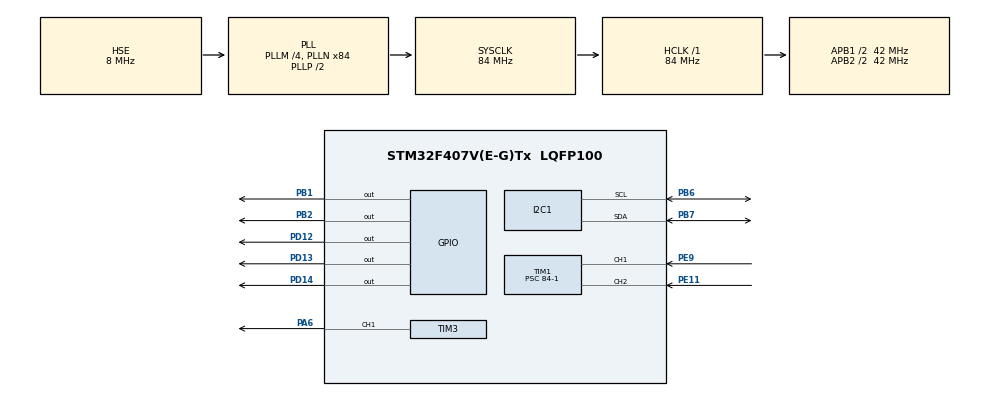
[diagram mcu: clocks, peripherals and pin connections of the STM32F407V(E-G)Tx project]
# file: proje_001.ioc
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I2C1.I2C_Mode=I2C_Fast
Mcu.Family=STM32F4
Mcu.Name=STM32F407V(E-G)Tx
Mcu.Package=LQFP100
NVIC.PriorityGroup=NVIC_PRIORITYGROUP_4
NVIC.TIM1_CC_IRQn=true\:0\:0\:false\:false\:true\:true\:true\:true
PA13.Mode=Serial_Wire
PA13.Signal=SYS_JTMS-SWDIO
PA14.Mode=Serial_Wire
PA14.Signal=SYS_JTCK-SWCLK
PA6.Signal=S_TIM3_CH1
PB1.Signal=GPIO_Output
PB2.Signal=GPIO_Output
PB6.Mode=I2C
PB6.Signal=I2C1_SCL
PB7.Mode=I2C
PB7.Signal=I2C1_SDA
PD12.Signal=GPIO_Output
PD13.Signal=GPIO_Output
PD14.Signal=GPIO_Output
PE11.Signal=S_TIM1_CH2
PE9.Signal=S_TIM1_CH1
PH0-OSC_IN.Mode=HSE-External-Oscillator
PH0-OSC_IN.Signal=RCC_OSC_IN
PH1-OSC_OUT.Mode=HSE-External-Oscillator
PH1-OSC_OUT.Signal=RCC_OSC_OUT
ProjectManager.HeapSize=0x200
ProjectManager.StackSize=0x400
ProjectManager.TargetToolchain=STM32CubeIDE
RCC.48MHZClocksFreq_Value=42000000
RCC.AHBFreq_Value=84000000
RCC.APB1CLKDivider=RCC_HCLK_DIV2
RCC.APB1Freq_Value=42000000
RCC.APB1TimFreq_Value=84000000
RCC.APB2CLKDivider=RCC_HCLK_DIV2
RCC.APB2Freq_Value=42000000
RCC.APB2TimFreq_Value=84000000
RCC.CortexFreq_Value=84000000
RCC.HCLKFreq_Value=84000000
RCC.HSE_VALUE=8000000
RCC.HSI_VALUE=16000000
RCC.LSE_VALUE=32768
RCC.PLLM=4
RCC.PLLN=84
RCC.PLLSourceVirtual=RCC_PLLSOURCE_HSE
RCC.SYSCLKFreq_VALUE=84000000
RCC.SYSCLKSource=RCC_SYSCLKSOURCE_PLLCLK
RCC.VCOOutputFreq_Value=168000000
SH.S_TIM1_CH1.0=TIM1_CH1,Input_Capture1_from_TI1
SH.S_TIM1_CH2.0=TIM1_CH2,Input_Capture2_from_TI2
SH.S_TIM3_CH1.0=TIM3_CH1,PWM Generation1 CH1
TIM1.Channel-Input_Capture1_from_TI1=TIM_CHANNEL_1
TIM1.Channel-Input_Capture2_from_TI2=TIM_CHANNEL_2
TIM1.Period=0xffff-1
TIM1.Prescaler=84-1
TIM3.Channel-PWM\ Generation1\ CH1=TIM_CHANNEL_1
TIM3.Period=20000-1
TIM3.Prescaler=83
board=custom

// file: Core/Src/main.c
/* USER CODE BEGIN Header */
/**
  ******************************************************************************
  * @file           : main.c
  * @brief          : Main program body
  ******************************************************************************
  * @attention
  *
  * Copyright (c) 2025 STMicroelectronics.
  * All rights reserved.
  *
  * This software is licensed under terms that can be found in the LICENSE file
  * in the root directory of this software component.
  * If no LICENSE file comes with this software, it is provided AS-IS.
  *
  ******************************************************************************
  */
/* USER CODE END Header */
#include "main.h"

/* USER CODE BEGIN Includes */
#include "sr04.h"
#include <stdio.h>
#include "fonts.h"
#include "ssd1306.h"
#include "servomotor.h"
#include "stdlib.h"
#define DIST_THRESHOLD 200   // mm
uint8_t servo_state = 0;
// 0 = Başlangıç (0°)
// 1 = 90°'de
#define BUZZER_PORT GPIOD
#define BUZZER_PIN  GPIO_PIN_14

/* USER CODE END Includes */

I2C_HandleTypeDef hi2c1;

TIM_HandleTypeDef htim1;
TIM_HandleTypeDef htim3;

/* USER CODE BEGIN PV */
/* USER CODE BEGIN PV */
sr04_t sr04_1;
sr04_t sr04_2;
servo_t servo1;

uint8_t car_seen_inside = 0;
uint8_t door_open_flag = 0;
uint8_t car_seen_outside = 0;

/* USER CODE END PV */

void SystemClock_Config(void);
static void MX_GPIO_Init(void);
static void MX_TIM1_Init(void);
static void MX_I2C1_Init(void);
static void MX_TIM3_Init(void);

void door_open(void)
{
    if (door_open_flag == 0)
    {
        servo_set_position(&servo1, 90);
        HAL_GPIO_WritePin(GPIOD, GPIO_PIN_12, GPIO_PIN_SET); // LED
        HAL_GPIO_WritePin(GPIOD, GPIO_PIN_13, GPIO_PIN_RESET);
        HAL_GPIO_WritePin(GPIOD, GPIO_PIN_14, GPIO_PIN_SET); // Buzzer
        door_open_flag = 1;
    }
}

void door_close(void)
{
    if (door_open_flag == 1)
    {
        servo_set_position(&servo1, 0);
        HAL_GPIO_WritePin(GPIOD, GPIO_PIN_12, GPIO_PIN_RESET);
        HAL_GPIO_WritePin(GPIOD, GPIO_PIN_13, GPIO_PIN_SET);
        HAL_GPIO_WritePin(GPIOD, GPIO_PIN_14, GPIO_PIN_RESET);
        door_open_flag = 0;
    }
}

int main(void)
{

  /* MCU Configuration--------------------------------------------------------*/

  /* Reset of all peripherals, Initializes the Flash interface and the Systick. */
  HAL_Init();

  /* Configure the system clock */
  SystemClock_Config();

  /* Initialize all configured peripherals */
  MX_GPIO_Init();
  MX_TIM1_Init();
  MX_I2C1_Init();
  MX_TIM3_Init();
  servo_init(&servo1,&htim3,TIM_CHANNEL_1);
  /* USER CODE BEGIN 2 */
  /* USER CODE BEGIN 2 */

  // -------- SENSOR 1 --------
  // -------- SENSOR 1 --------
  SSD1306_Init();
  char string[25];
  SSD1306_GotoXY (0,0);
  SSD1306_Puts ("Arac Park ", &Font_11x18, SSD1306_COLOR_WHITE);
  SSD1306_GotoXY (0, 30);
  SSD1306_Puts ("Sistemi", &Font_11x18, SSD1306_COLOR_WHITE);
  SSD1306_UpdateScreen();
  HAL_Delay (1000);

  SSD1306_GotoXY (30,0);

  sr04_1.trig_port    = GPIOB;
  sr04_1.trig_pin     = GPIO_PIN_1;
  sr04_1.echo_htim    = &htim1;
  sr04_1.echo_channel = TIM_CHANNEL_1;
  sr04_init(&sr04_1);

  // -------- SENSOR 2 --------
  sr04_2.trig_port    = GPIOB;
  sr04_2.trig_pin     = GPIO_PIN_2;
  sr04_2.echo_htim    = &htim1;
  sr04_2.echo_channel = TIM_CHANNEL_2;
  sr04_init(&sr04_2);
  servo1.htim      = &htim3;
  servo1.channel   = TIM_CHANNEL_1;
  servo1.min = 1000;   // 1 ms
  servo1.max = 2000;   // 2 ms

  // Input Capture + Base timer interrupt
  HAL_TIM_IC_Start_IT(&htim1, TIM_CHANNEL_1);
  HAL_TIM_IC_Start_IT(&htim1, TIM_CHANNEL_2);
  HAL_TIM_Base_Start_IT(&htim1);

  HAL_TIM_PWM_Start(&htim3, TIM_CHANNEL_1);
  servo_init(&servo1, &htim3, TIM_CHANNEL_1);
  uint8_t servo_state  = 0;   // 0: BOS, 1: DOLU
  uint8_t screen_state = 255;
  typedef enum
  {
      STATE_IDLE = 0,     // Kapı kapalı, araç yok
      STATE_ENTERING,     // Araç giriyor
      STATE_INSIDE,       // Araç içeride
      STATE_EXITING       // Araç çıkıyor
  } garage_state_t;

  garage_state_t garage_state = STATE_IDLE;
  while (1)
  {
      /* -------- SENSÖRLERİ OKU -------- */
      sr04_trigger(&sr04_1);          // DIS sensör
      HAL_Delay(60);

      sr04_trigger(&sr04_2);          // IC sensör
      HAL_Delay(60);

      uint32_t sA = sr04_1.distance;  // DIS
      uint32_t sB = sr04_2.distance;  // IC

      printf("A:%lu B:%lu STATE:%d\r\n", sA, sB, garage_state);

      /* -------- STATE MACHINE -------- */
      switch (garage_state)
      {
          /* ===== KAPI KAPALI / BOS ===== */
          case STATE_IDLE:
              car_seen_inside  = 0;
              car_seen_outside = 0;

              if (sA > 0 && sA < DIST_THRESHOLD)
              {
                  door_open();
                  garage_state = STATE_ENTERING;
              }
              break;

          /* ===== ARAÇ GIRISI ===== */
          case STATE_ENTERING:
              /* Dıştan koptu + iç sensör gördü */
              if (sB > 0 && sB < DIST_THRESHOLD &&
                  (sA == 0 || sA > DIST_THRESHOLD))
              {
                  door_close();
                  car_seen_inside = 1;
                  garage_state = STATE_INSIDE;
              }
              break;

          /* ===== ARAÇ ICERIDE ===== */
          case STATE_INSIDE:
              /* İçerideyken flag garanti */
              if (sB > 0 && sB < DIST_THRESHOLD)
              {
                  car_seen_inside = 1;
              }

              /* İç sensör önce gördü → sonra BOS */
              if (car_seen_inside == 1 &&
                 (sB == 0 || sB > DIST_THRESHOLD))
              {
                  door_open();
                  car_seen_outside = 0;
                  garage_state = STATE_EXITING;
              }
              break;

          /* ===== ARAÇ CIKIYOR ===== */
          case STATE_EXITING:
              /* Dış sensör aracı gördü mü? */
              if (sA > 0 && sA < DIST_THRESHOLD)
              {
                  car_seen_outside = 1;
              }

              /* ÇIKIŞ TAMAMLANDI */
              if (car_seen_outside == 1 &&
                 (sA == 0 || sA > DIST_THRESHOLD) &&
                 (sB == 0 || sB > DIST_THRESHOLD))
              {
                  door_close();
                  car_seen_inside  = 0;
                  car_seen_outside = 0;
                  garage_state = STATE_IDLE;
              }
              break;
      }

      /* -------- OLED -------- */
      static garage_state_t last_state = 255;

      if (garage_state != last_state)
      {
          SSD1306_Fill(SSD1306_COLOR_BLACK);
          SSD1306_GotoXY(0, 0);

          if (garage_state == STATE_IDLE)
              SSD1306_Puts("ARABA YOK", &Font_11x18, SSD1306_COLOR_WHITE);
          else if (garage_state == STATE_ENTERING)
              SSD1306_Puts("ARABA GIRIS", &Font_11x18, SSD1306_COLOR_WHITE);
          else if (garage_state == STATE_INSIDE)
              SSD1306_Puts("DOLU", &Font_11x18, SSD1306_COLOR_WHITE);
          else if (garage_state == STATE_EXITING)
              SSD1306_Puts("ARABA CIKIS", &Font_11x18, SSD1306_COLOR_WHITE);

          SSD1306_UpdateScreen();
          last_state = garage_state;
      }

      HAL_Delay(50);
  }

  /* USER CODE END 3 */
}

void SystemClock_Config(void)
{
  RCC_OscInitTypeDef RCC_OscInitStruct = {0};
  RCC_ClkInitTypeDef RCC_ClkInitStruct = {0};

  /** Configure the main internal regulator output voltage
  */
  __HAL_RCC_PWR_CLK_ENABLE();
  __HAL_PWR_VOLTAGESCALING_CONFIG(PWR_REGULATOR_VOLTAGE_SCALE1);

  /** Initializes the RCC Oscillators according to the specified parameters
  * in the RCC_OscInitTypeDef structure.
  */
  RCC_OscInitStruct.OscillatorType = RCC_OSCILLATORTYPE_HSE;
  RCC_OscInitStruct.HSEState = RCC_HSE_ON;
  RCC_OscInitStruct.PLL.PLLState = RCC_PLL_ON;
  RCC_OscInitStruct.PLL.PLLSource = RCC_PLLSOURCE_HSE;
  RCC_OscInitStruct.PLL.PLLM = 4;
  RCC_OscInitStruct.PLL.PLLN = 84;
  RCC_OscInitStruct.PLL.PLLP = RCC_PLLP_DIV2;
  RCC_OscInitStruct.PLL.PLLQ = 4;
  if (HAL_RCC_OscConfig(&RCC_OscInitStruct) != HAL_OK)
  {
    Error_Handler();
  }

  /** Initializes the CPU, AHB and APB buses clocks
  */
  RCC_ClkInitStruct.ClockType = RCC_CLOCKTYPE_HCLK|RCC_CLOCKTYPE_SYSCLK
                              |RCC_CLOCKTYPE_PCLK1|RCC_CLOCKTYPE_PCLK2;
  RCC_ClkInitStruct.SYSCLKSource = RCC_SYSCLKSOURCE_PLLCLK;
  RCC_ClkInitStruct.AHBCLKDivider = RCC_SYSCLK_DIV1;
  RCC_ClkInitStruct.APB1CLKDivider = RCC_HCLK_DIV2;
  RCC_ClkInitStruct.APB2CLKDivider = RCC_HCLK_DIV2;

  if (HAL_RCC_ClockConfig(&RCC_ClkInitStruct, FLASH_LATENCY_2) != HAL_OK)
  {
    Error_Handler();
  }
}

static void MX_I2C1_Init(void)
{

  hi2c1.Instance = I2C1;
  hi2c1.Init.ClockSpeed = 400000;
  hi2c1.Init.DutyCycle = I2C_DUTYCYCLE_2;
  hi2c1.Init.OwnAddress1 = 0;
  hi2c1.Init.AddressingMode = I2C_ADDRESSINGMODE_7BIT;
  hi2c1.Init.DualAddressMode = I2C_DUALADDRESS_DISABLE;
  hi2c1.Init.OwnAddress2 = 0;
  hi2c1.Init.GeneralCallMode = I2C_GENERALCALL_DISABLE;
  hi2c1.Init.NoStretchMode = I2C_NOSTRETCH_DISABLE;
  if (HAL_I2C_Init(&hi2c1) != HAL_OK)
  {
    Error_Handler();
  }

}

static void MX_TIM1_Init(void)
{

  TIM_MasterConfigTypeDef sMasterConfig = {0};
  TIM_IC_InitTypeDef sConfigIC = {0};

  htim1.Instance = TIM1;
  htim1.Init.Prescaler = 84-1;
  htim1.Init.CounterMode = TIM_COUNTERMODE_UP;
  htim1.Init.Period = 0xffff-1;
  htim1.Init.ClockDivision = TIM_CLOCKDIVISION_DIV1;
  htim1.Init.RepetitionCounter = 0;
  htim1.Init.AutoReloadPreload = TIM_AUTORELOAD_PRELOAD_DISABLE;
  if (HAL_TIM_IC_Init(&htim1) != HAL_OK)
  {
    Error_Handler();
  }
  sMasterConfig.MasterOutputTrigger = TIM_TRGO_RESET;
  sMasterConfig.MasterSlaveMode = TIM_MASTERSLAVEMODE_DISABLE;
  if (HAL_TIMEx_MasterConfigSynchronization(&htim1, &sMasterConfig) != HAL_OK)
  {
    Error_Handler();
  }
  sConfigIC.ICPolarity = TIM_INPUTCHANNELPOLARITY_RISING;
  sConfigIC.ICSelection = TIM_ICSELECTION_DIRECTTI;
  sConfigIC.ICPrescaler = TIM_ICPSC_DIV1;
  sConfigIC.ICFilter = 0;
  if (HAL_TIM_IC_ConfigChannel(&htim1, &sConfigIC, TIM_CHANNEL_1) != HAL_OK)
  {
    Error_Handler();
  }
  if (HAL_TIM_IC_ConfigChannel(&htim1, &sConfigIC, TIM_CHANNEL_2) != HAL_OK)
  {
    Error_Handler();
  }

}

static void MX_TIM3_Init(void)
{

  TIM_MasterConfigTypeDef sMasterConfig = {0};
  TIM_OC_InitTypeDef sConfigOC = {0};

  htim3.Instance = TIM3;
  htim3.Init.Prescaler = 83;
  htim3.Init.CounterMode = TIM_COUNTERMODE_UP;
  htim3.Init.Period = 20000-1;
  htim3.Init.ClockDivision = TIM_CLOCKDIVISION_DIV1;
  htim3.Init.AutoReloadPreload = TIM_AUTORELOAD_PRELOAD_DISABLE;
  if (HAL_TIM_PWM_Init(&htim3) != HAL_OK)
  {
    Error_Handler();
  }
  sMasterConfig.MasterOutputTrigger = TIM_TRGO_RESET;
  sMasterConfig.MasterSlaveMode = TIM_MASTERSLAVEMODE_DISABLE;
  if (HAL_TIMEx_MasterConfigSynchronization(&htim3, &sMasterConfig) != HAL_OK)
  {
    Error_Handler();
  }
  sConfigOC.OCMode = TIM_OCMODE_PWM1;
  sConfigOC.Pulse = 0;
  sConfigOC.OCPolarity = TIM_OCPOLARITY_HIGH;
  sConfigOC.OCFastMode = TIM_OCFAST_DISABLE;
  if (HAL_TIM_PWM_ConfigChannel(&htim3, &sConfigOC, TIM_CHANNEL_1) != HAL_OK)
  {
    Error_Handler();
  }
  HAL_TIM_MspPostInit(&htim3);

}

static void MX_GPIO_Init(void)
{
  GPIO_InitTypeDef GPIO_InitStruct = {0};

  /* GPIO Ports Clock Enable */
  __HAL_RCC_GPIOH_CLK_ENABLE();
  __HAL_RCC_GPIOA_CLK_ENABLE();
  __HAL_RCC_GPIOB_CLK_ENABLE();
  __HAL_RCC_GPIOE_CLK_ENABLE();
  __HAL_RCC_GPIOD_CLK_ENABLE();

  /*Configure GPIO pin Output Level */
  HAL_GPIO_WritePin(GPIOB, GPIO_PIN_1|GPIO_PIN_2, GPIO_PIN_RESET);

  /*Configure GPIO pin Output Level */
  HAL_GPIO_WritePin(GPIOD, GPIO_PIN_12|GPIO_PIN_13|GPIO_PIN_14, GPIO_PIN_RESET);

  /*Configure GPIO pins : PB1 PB2 */
  GPIO_InitStruct.Pin = GPIO_PIN_1|GPIO_PIN_2;
  GPIO_InitStruct.Mode = GPIO_MODE_OUTPUT_PP;
  GPIO_InitStruct.Pull = GPIO_NOPULL;
  GPIO_InitStruct.Speed = GPIO_SPEED_FREQ_LOW;
  HAL_GPIO_Init(GPIOB, &GPIO_InitStruct);

  /*Configure GPIO pins : PD12 PD13 PD14 */
  GPIO_InitStruct.Pin = GPIO_PIN_12|GPIO_PIN_13|GPIO_PIN_14;
  GPIO_InitStruct.Mode = GPIO_MODE_OUTPUT_PP;
  GPIO_InitStruct.Pull = GPIO_NOPULL;
  GPIO_InitStruct.Speed = GPIO_SPEED_FREQ_LOW;
  HAL_GPIO_Init(GPIOD, &GPIO_InitStruct);

}

void Error_Handler(void)
{
  __disable_irq();
  while (1)
  {
  }
}
